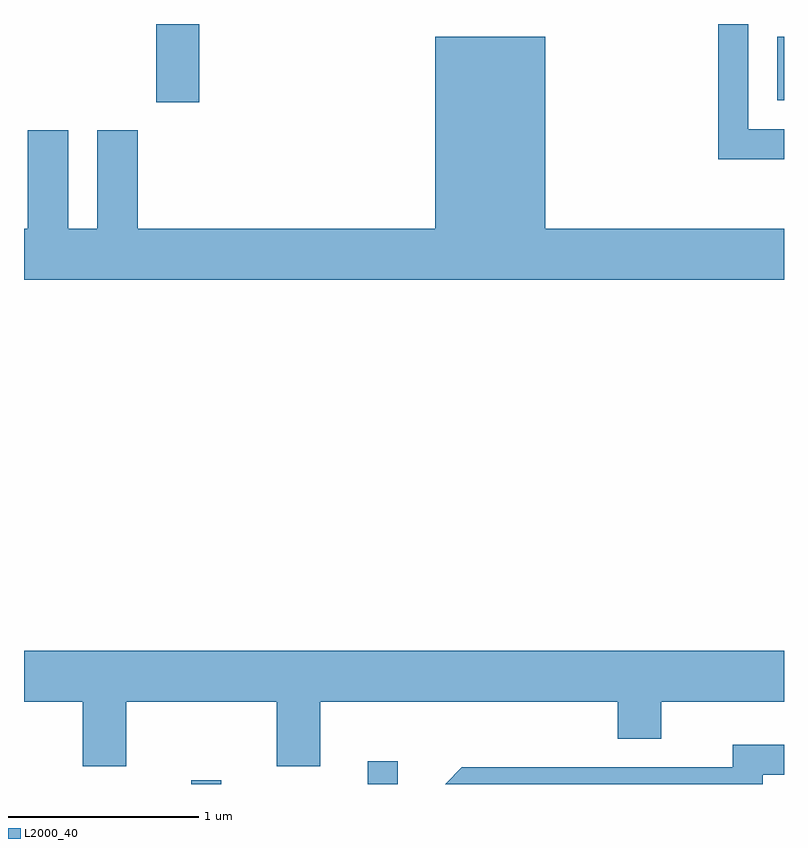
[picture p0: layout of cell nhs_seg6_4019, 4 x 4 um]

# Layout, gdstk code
import gdstk
lib = gdstk.Library(unit=1e-6, precision=1e-09)
def R(c, l, rs):  # rectangles x0, y0, x1, y1
    for r in rs: c.add(gdstk.rectangle(r[:2], r[2:], *l))
def P(c, l, *ps):  # polygons
    for p in ps: c.add(gdstk.Polygon(p, *l))
L2000_40 = (2000, 40)

nhs_seg6_4019 = lib.new_cell('nhs_seg6_4019')
R(nhs_seg6_4019, L2000_40, [(306.491,1656.162,306.649,1656.183), (307.421,1656.162,307.579,1656.283), (306.306,1659.751,306.534,1660.162), (309.576,1659.761,309.611,1660.094)])
P(nhs_seg6_4019, L2000_40, [(309.611,1659.609),(309.424,1659.609),(309.424,1660.162),(309.266,1660.162),(309.266,1659.451),(309.611,1659.451)],
  [(309.611,1659.084),(308.354,1659.084),(308.354,1660.094),(307.776,1660.094),(307.776,1659.084),(306.209,1659.084),(306.209,1659.604),(305.996,1659.604),(305.996,1659.084),(305.844,1659.084),(305.844,1659.604),(305.631,1659.604),(305.631,1659.084),(305.611,1659.084),(305.611,1658.816),(309.611,1658.816)],
  [(306.149,1656.596),(306.941,1656.596),(306.941,1656.256),(307.169,1656.256),(307.169,1656.596),(308.736,1656.596),(308.736,1656.401),(308.964,1656.401),(308.964,1656.596),(309.611,1656.596),(309.611,1656.864),(305.611,1656.864),(305.611,1656.596),(305.921,1656.596),(305.921,1656.256),(306.149,1656.256)],
  [(309.499,1656.211),(309.611,1656.211),(309.611,1656.369),(309.341,1656.369),(309.341,1656.249),(307.914,1656.249),(307.827,1656.162),(309.499,1656.162)])

lib.write_gds('nhs_seg6_4019.gds')
